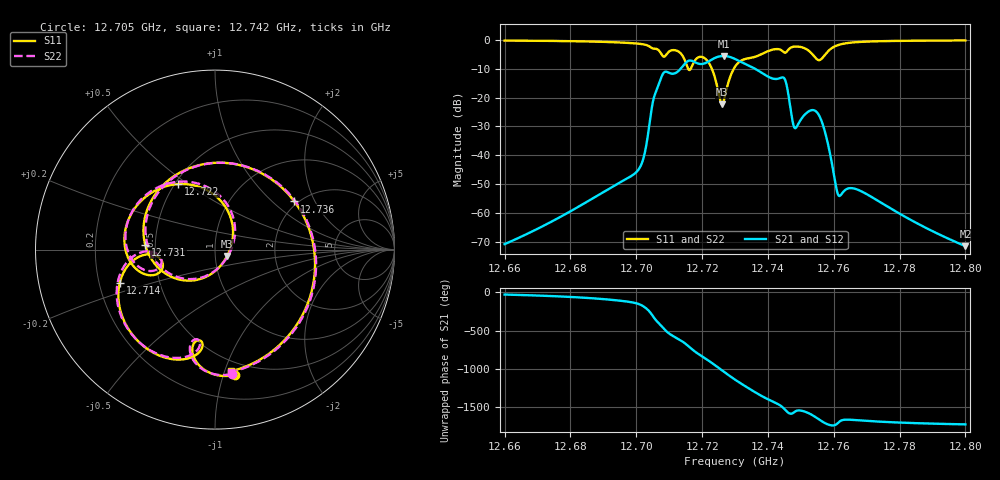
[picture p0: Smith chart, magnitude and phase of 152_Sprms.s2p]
! TOUCHSTONE file generated by CST MICROWAVE STUDIO
! Date and time: Wed Jul 31 18:30:53 2024
! Project name: WaveGuide_BPF-Ver4.1_U-shape_Ku_T3_C4_CWA_2.cst
! Parameters = {cavity_h=16; cavity_l0=10; cavity_l1=15.229; cavity_l2=16.8292; cavity_l3=17.0803; cavity_l4=17.2854; cavity_l5=17.1584; cavity_l6=17.603; cavity_r=2.5; cavity_screw_l=0.5; cavity_screw_r=1.5; cavity_w=8; iris_h00=0; iris_h01=8.8076; iris_h112=0; iris_h12=5.6125; iris_h211=3.6513; ir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
! Header version: 2018
! Port assignment regex: !\s*Touchstone port\s*([0-9]+)\s*=\s*(CST MWS port|CST DS port)\s*([0-9]+|Zmin|Zmax)\s*\(\"(.*)\"\)(\s*mode\s*([0-9]+))?.*
! Touchstone port assignment:
! Touchstone port 1 = CST MWS port 1 ("")
! Touchstone port 2 = CST MWS port 2 ("")
# GHz S RI R 50
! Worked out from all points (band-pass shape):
!   5001 points, 12.66 GHz to 12.8 GHz, reference 50 ohm
!   highest |S21| = -5.54 dB at 12.727 GHz (marker M1); lowest = -71.6 dB at 12.8 GHz (marker M2)
!   |S21| within 3 dB of the highest: 12.71453 GHz to 12.73353 GHz (19 MHz wide, 0.149 % of centre)
!   lowest |S11| = -22.3 dB at 12.726 GHz (marker M3), VSWR 1.17, Z = 57.2 - j4 ohm
!   |S11| at or under -10 dB: 12.71576 GHz to 12.71654 GHz (775.8 kHz wide, 0.0061 % of centre); 12.72298 GHz to 12.72962 GHz (6.641 MHz wide, 0.0522 % of centre)
!   |S22| runs from -21.9 to -0.2 dB; largest |S21 - S12| = 1e-09
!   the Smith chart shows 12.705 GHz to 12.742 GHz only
!   S11 on the Smith chart (normalised r, x): 12.705 GHz: 0.39, -1.09; 12.714 GHz: 0.29, -0.15; 12.722 GHz: 0.52, +0.46; 12.731 GHz: 0.44, +0.02; 12.736 GHz: 1.91, +1.40; 12.742 GHz: 0.41, -1.05
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12.66  0.4024 0.8911  0.000252 -0.000137  0.000252 -0.000137  0.4063 0.8893
12.68335  0.8397 0.4419  0.000517 -0.00127  0.000517 -0.00127  0.842 0.4372
12.70071  0.6004 -0.6198  -0.005 -0.00267  -0.005 -0.00267  0.5885 -0.6288
12.70525  0.1091 -0.7006  0.0763 0.0561  0.0763 0.0561  0.0931 -0.6947
12.70668  -0.0572 -0.6707  0.1309 -0.0938  0.1309 -0.0938  -0.072 -0.6651
12.70984  -0.1454 -0.6048  -0.2694 -0.0288  -0.2694 -0.0288  -0.1631 -0.5976
12.71379  -0.5303 -0.1837  0.0328 0.3308  0.0328 0.3308  -0.537 -0.161
12.71659  -0.2984 -0.1151  0.4313 -0.0892  0.4313 -0.0892  -0.3075 -0.0969
12.72185  -0.2046 0.3649  -0.414 -0.0767  -0.414 -0.0767  -0.1727 0.3792
12.72605  0.0682 -0.0348  0.2693 0.4529  0.2693 0.4529  0.0696 -0.0398
12.72653  0.0431 -0.0747  0.3783 0.3687  0.3783 0.3687  0.0423 -0.0776
12.73  -0.3334 -0.0817  0.2252 -0.4117  0.2252 -0.4117  -0.3349 -0.0589
12.73073  -0.3878 0.0239  0.0613 -0.4437  0.0613 -0.4437  -0.3818 0.0519
12.73638  0.4426 0.2681  -0.1852 0.2486  -0.1852 0.2486  0.4674 0.2408
12.74154  0.0899 -0.6776  0.21 0.0401  0.21 0.0401  0.087 -0.683
12.74504  -0.3615 -0.4839  0.0103 -0.2135  0.0103 -0.2135  -0.3618 -0.4898
12.74915  -0.7512 -0.1668  -0.00845 -0.0332  -0.00845 -0.0332  -0.7502 -0.1671
12.75335  -0.2627 0.5172  -0.0578 -0.0186  -0.0578 -0.0186  -0.2466 0.5155
12.75652  0.4806 -0.0731  -0.0125 0.0341  -0.0125 0.0341  0.4785 -0.1057
12.76027  -0.0808 -0.7686  0.00179 0.00348  0.00179 0.00348  -0.1026 -0.7714
12.77668  -0.9506 -0.1392  -0.000282 0.00122  -0.000282 0.00122  -0.9518 -0.1326
12.8  -0.9237 0.3356  7.63e-05 0.000253  7.63e-05 0.000253  -0.9219 0.3408
